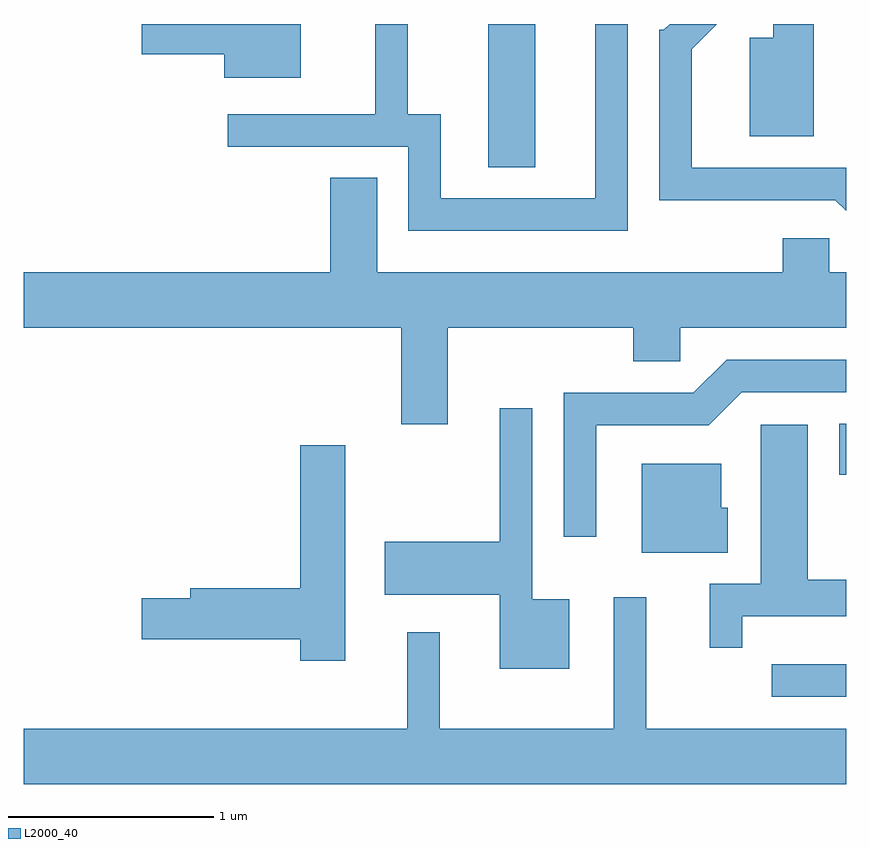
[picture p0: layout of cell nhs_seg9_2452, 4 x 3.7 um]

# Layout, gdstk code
import gdstk
lib = gdstk.Library(unit=1e-6, precision=1e-09)
def R(c, l, rs):  # rectangles x0, y0, x1, y1
    for r in rs: c.add(gdstk.rectangle(r[:2], r[2:], *l))
def P(c, l, *ps):  # polygons
    for p in ps: c.add(gdstk.Polygon(p, *l))
L2000_40 = (2000, 40)

nhs_seg9_2452 = lib.new_cell('nhs_seg9_2452')
R(nhs_seg9_2452, L2000_40, [(261.248,1961.161,261.611,1961.319), (261.576,1962.241,261.611,1962.489), (259.871,1963.736,260.099,1964.432)])
P(nhs_seg9_2452, L2000_40, [(261.611,1963.734),(260.859,1963.734),(260.859,1964.309),(260.982,1964.432),(260.752,1964.432),(260.724,1964.404),(260.701,1964.404),(260.701,1963.576),(261.558,1963.576),(261.611,1963.523)],
  [(260.549,1964.432),(260.391,1964.432),(260.391,1963.584),(259.639,1963.584),(259.639,1963.994),(259.479,1963.994),(259.479,1964.432),(259.321,1964.432),(259.321,1963.994),(258.603,1963.994),(258.603,1963.836),(259.481,1963.836),(259.481,1963.426),(260.549,1963.426)],
  [(261.454,1964.432),(261.256,1964.432),(261.256,1964.364),(261.141,1964.364),(261.141,1963.886),(261.454,1963.886)],
  [(258.959,1964.432),(258.186,1964.432),(258.186,1964.286),(258.586,1964.286),(258.586,1964.171),(258.959,1964.171)],
  [(259.674,1962.956),(260.576,1962.956),(260.576,1962.791),(260.804,1962.791),(260.804,1962.956),(261.611,1962.956),(261.611,1963.224),(261.529,1963.224),(261.529,1963.389),(261.301,1963.389),(261.301,1963.224),(259.329,1963.224),(259.329,1963.684),(259.101,1963.684),(259.101,1963.224),(257.611,1963.224),(257.611,1962.956),(259.446,1962.956),(259.446,1962.486),(259.674,1962.486)],
  [(260.394,1962.481),(260.942,1962.481),(261.102,1962.641),(261.611,1962.641),(261.611,1962.799),(261.029,1962.799),(260.868,1962.639),(260.236,1962.639),(260.236,1961.938),(260.394,1961.938)],
  [(260.264,1961.634),(260.084,1961.634),(260.084,1962.563),(259.926,1962.563),(259.926,1961.914),(259.366,1961.914),(259.366,1961.656),(259.926,1961.656),(259.926,1961.296),(260.264,1961.296)],
  [(261.104,1961.551),(261.611,1961.551),(261.611,1961.729),(261.424,1961.729),(261.424,1962.484),(261.196,1962.484),(261.196,1961.709),(260.946,1961.709),(260.946,1961.398),(261.104,1961.398)],
  [(259.174,1962.384),(258.956,1962.384),(258.956,1961.689),(258.421,1961.689),(258.421,1961.639),(258.186,1961.639),(258.186,1961.441),(258.956,1961.441),(258.956,1961.336),(259.174,1961.336)],
  [(261.034,1962.079),(261.004,1962.079),(261.004,1962.294),(260.616,1962.294),(260.616,1961.861),(261.034,1961.861)],
  [(261.611,1961.004),(260.639,1961.004),(260.639,1961.643),(260.481,1961.643),(260.481,1961.004),(259.634,1961.004),(259.634,1961.473),(259.476,1961.473),(259.476,1961.004),(257.611,1961.004),(257.611,1960.736),(261.611,1960.736)])

lib.write_gds('nhs_seg9_2452.gds')
